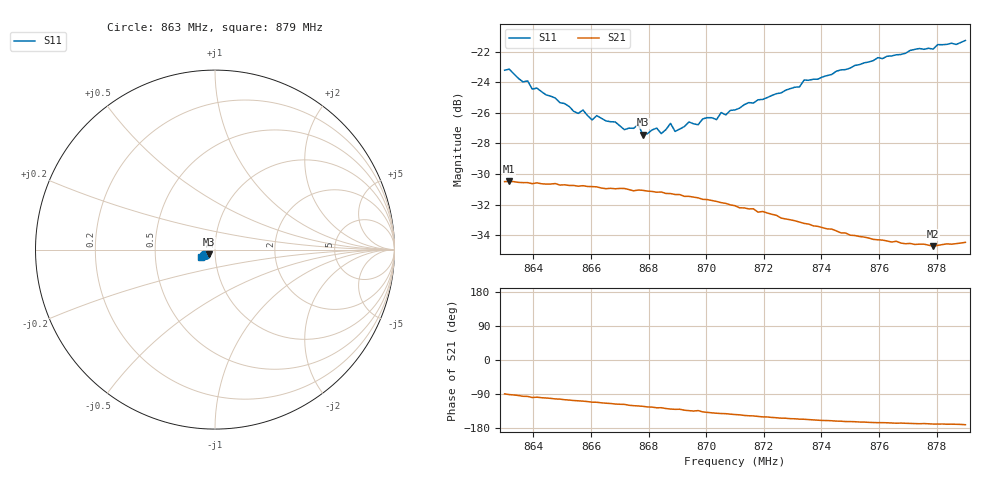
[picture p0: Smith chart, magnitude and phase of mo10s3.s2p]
# HZ S RI R 50
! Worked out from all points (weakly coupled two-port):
!   101 points, 863 MHz to 879 MHz, reference 50 ohm
!   highest |S21| = -30.48 dB at 863.16 MHz (marker M1); lowest = -34.7 dB at 877.88 MHz (marker M2)
!   lowest |S11| = -27.4 dB at 867.8 MHz (marker M3), VSWR 1.09, Z = 46.7 - j2.45 ohm
!   |S11| at or under -10 dB: start of sweep to end of sweep
!   S12 and S22 are empty: the file has one direction only
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8.63e8  -0.0628 -0.0288  0.000387 -0.0298  0 0  0 0
8.6316e8  -0.0642 -0.027  -0.000667 -0.0299  0 0  0 0
8.638e8  -0.0588 -0.0247  -0.00313 -0.0295  0 0  0 0
8.6396e8  -0.0551 -0.0235  -0.00461 -0.029  0 0  0 0
8.6556e8  -0.0445 -0.0227  -0.00876 -0.0275  0 0  0 0
8.6572e8  -0.045 -0.0243  -0.00922 -0.0274  0 0  0 0
8.6604e8  -0.0416 -0.0229  -0.0105 -0.0268  0 0  0 0
8.662e8  -0.043 -0.0238  -0.0105 -0.0267  0 0  0 0
8.6716e8  -0.0363 -0.0251  -0.0129 -0.0252  0 0  0 0
8.6764e8  -0.0359 -0.0285  -0.0146 -0.0239  0 0  0 0
8.678e8  -0.0335 -0.0262  -0.0149 -0.0237  0 0  0 0
8.6828e8  -0.0331 -0.0301  -0.0162 -0.0223  0 0  0 0
8.6844e8  -0.0313 -0.0293  -0.0162 -0.0224  0 0  0 0
8.6876e8  -0.0328 -0.0326  -0.0173 -0.0211  0 0  0 0
8.6892e8  -0.0302 -0.0314  -0.0175 -0.0207  0 0  0 0
8.694e8  -0.0324 -0.0338  -0.0184 -0.0193  0 0  0 0
8.6972e8  -0.0286 -0.0358  -0.0182 -0.0192  0 0  0 0
8.71e8  -0.0313 -0.0406  -0.0201 -0.0147  0 0  0 0
8.7372e8  -0.0399 -0.0507  -0.0198 -0.00801  0 0  0 0
8.7644e8  -0.0582 -0.0503  -0.0184 -0.00451  0 0  0 0
8.7788e8  -0.0674 -0.045  -0.018 -0.0035  0 0  0 0
8.79e8  -0.0763 -0.0407  -0.0186 -0.00302  0 0  0 0
